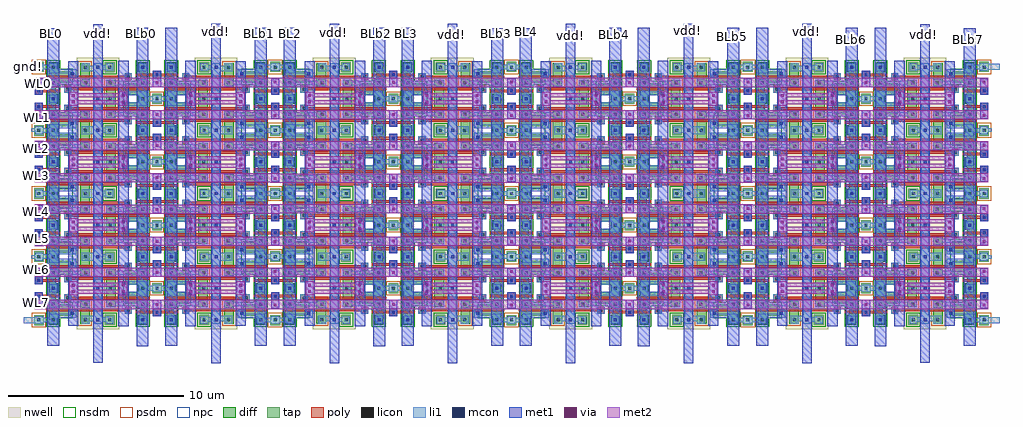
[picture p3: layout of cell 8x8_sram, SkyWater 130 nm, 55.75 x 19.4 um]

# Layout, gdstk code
from math import pi, radians
import gdstk
lib = gdstk.Library(unit=1e-6, precision=1e-09)
def R(c, l, rs):  # rectangles x0, y0, x1, y1
    for r in rs: c.add(gdstk.rectangle(r[:2], r[2:], *l))
nwell = (64, 20)
diff = (65, 20)
tap = (65, 44)
poly = (66, 20)
licon = (66, 44)
li1 = (67, 20)
mcon = (67, 44)
met1 = (68, 20)
via = (68, 44)
met2 = (69, 20)
nsdm = (93, 44)
psdm = (94, 20)
npc = (95, 20)

c_6tsram_base_final = lib.new_cell('6tsram_base_final')
R(c_6tsram_base_final, nwell, [(-0.65,-0.65,1.8,2.1)])
R(c_6tsram_base_final, diff, [(-2.25,-0.41,-1.7,0.1), (2.85,-0.4,3.4,0.15), (-0.45,-0.35,0.1,0.97), (-2.25,0.1,-0.99,0.75), (2.98,0.15,3.4,0.5), (2.85,0.5,3.4,0.8), (1.05,0.58,1.6,1.9), (-2.25,0.75,-1.7,1.05), (2.14,0.8,3.4,1.45), (-2.25,1.05,-1.83,1.4), (-2.25,1.4,-1.7,1.95), (2.85,1.45,3.4,1.95)])
R(c_6tsram_base_final, tap, [(-3.07,-0.43,-2.52,0.14), (0.97,-0.4,1.52,0.15), (3.67,1.4,4.22,1.96)])
R(c_6tsram_base_final, poly, [(3.72,0.09,4.17,0.25), (2.1,0.22,2.51,0.35), (2.72,0.25,4.17,0.4), (-2.38,0.35,2.51,0.5), (3.72,0.4,4.17,0.54), (2.1,0.5,2.51,0.63), (-1.36,0.92,-0.95,1.05), (-3.03,1,-2.58,1.15), (-1.36,1.05,3.53,1.2), (-3.03,1.15,-1.57,1.3), (-1.36,1.2,-0.95,1.33), (-3.03,1.3,-2.58,1.45)])
R(c_6tsram_base_final, licon, [(-2.89,-0.215,-2.72,-0.045), (-2.055,-0.215,-1.885,-0.045), (-0.225,-0.215,-0.055,-0.045), (1.175,-0.215,1.345,-0.045), (3.045,-0.215,3.215,-0.045), (3.86,0.23,4.03,0.4), (2.22,0.34,2.39,0.51), (-2.06,0.69,-1.89,0.86), (-0.21,0.69,-0.04,0.86), (1.19,0.69,1.36,0.86), (3.04,0.69,3.21,0.86), (-1.24,1.04,-1.07,1.21), (-2.89,1.14,-2.72,1.31), (-2.06,1.59,-1.89,1.76), (1.19,1.59,1.36,1.76), (3.04,1.59,3.21,1.76), (3.86,1.59,4.03,1.76)])
R(c_6tsram_base_final, li1, [(-2.2,-0.36,-1.75,-0.26), (-3.02,-0.35,-2.58,-0.26), (-0.35,-0.35,0.1,-0.2), (0.35,-0.35,0.8,-0.24), (2.9,-0.35,3.35,0.1), (1.05,-0.34,1.46,-0.24), (-3.02,-0.26,-1.75,-0.01), (0.35,-0.24,1.46,-0.2), (-0.35,-0.2,1.46,0.02), (-3.02,-0.01,-2.58,0.08), (-2.2,-0.01,-1.75,0), (-2.2,0,-0.67,0.21), (-0.35,0.02,0.8,0.1), (1.05,0.02,1.46,0.08), (3.72,0.09,4.17,0.54), (0.35,0.1,0.8,0.2), (0.35,0.2,0.79,1.35), (-1.12,0.21,-0.67,0.49), (2.1,0.22,2.51,0.66), (-2.2,0.55,-1.75,0.66), (-0.35,0.55,0.1,0.66), (2.9,0.55,3.35,0.66), (1.05,0.58,1.5,0.66), (-2.2,0.66,0.1,0.9), (1.05,0.66,3.35,0.9), (-2.2,0.9,-1.75,1), (-1.36,0.9,-0.95,1.33), (-0.35,0.9,0.1,0.97), (1.05,0.9,1.5,1), (2.9,0.9,3.35,1), (-3.03,1.01,-2.58,1.45), (1.8,1.26,3.35,1.48), (0.35,1.35,1.5,1.73), (-2.2,1.45,-1.75,1.9), (3.73,1.47,4.15,1.54), (1.8,1.48,2.3,1.71), (2.9,1.48,3.35,1.54), (2.9,1.54,4.15,1.82), (0.35,1.73,0.8,1.89), (1.05,1.73,1.5,1.9), (2.9,1.82,3.35,1.9), (3.73,1.82,4.15,1.88)])
R(c_6tsram_base_final, mcon, [(0.475,-0.215,0.645,-0.045), (-0.975,0.175,-0.805,0.345), (3.86,0.23,4.03,0.4), (-2.89,1.14,-2.72,1.31), (1.965,1.315,2.135,1.485), (0.48,1.59,0.65,1.76)])
R(c_6tsram_base_final, met1, [(0.3,-0.58,0.85,1.95), (1.74,-0.48,2.33,1.91), (-1.12,-0.46,-0.55,1.91), (3.71,0.08,4.17,1.01), (-3.03,0.53,-2.57,1), (-3.04,1,-2.57,1.01), (-3.04,1.01,-2.58,1.45)])
R(c_6tsram_base_final, via, [(1.945,1.415,2.095,1.565), (-0.915,1.425,-0.765,1.575)])
R(c_6tsram_base_final, met2, [(1.8,1.26,2.25,1.35), (-1.06,1.27,-0.6,1.35), (-1.06,1.35,2.25,1.58), (-1.06,1.58,-0.6,1.72), (1.8,1.58,2.25,1.71)])
R(c_6tsram_base_final, nsdm, [(-2.375,-0.535,-1.575,-0.025), (0.845,-0.525,1.645,0.275), (2.725,-0.525,3.525,0.675), (-2.375,-0.025,-0.865,0.875), (2.015,0.675,3.525,1.575), (-2.375,0.875,-1.575,2.075), (2.725,1.575,3.525,2.075)])
R(c_6tsram_base_final, psdm, [(-3.195,-0.555,-2.395,0.265), (-0.575,-0.475,0.225,1.095), (0.925,0.455,1.725,2.025), (3.545,1.275,4.345,2.085)])
R(c_6tsram_base_final, npc, [(3.76,0.13,4.13,0.5), (2.12,0.24,2.49,0.61), (-1.34,0.94,-0.97,1.31), (-2.99,1.04,-2.62,1.41)])
c_6tsram_base_final.add(gdstk.Label('gnd', (4.1,1.86), layer=67, texttype=5))
c_6tsram_base_final.add(gdstk.Label('Q', (-1.16,1.29), layer=67, texttype=5))
c_6tsram_base_final.add(gdstk.Label('Qb', (2.36,0.26), layer=67, texttype=5))
c_6tsram_base_final.add(gdstk.Label('WL', (3.97,0.79), layer=68, texttype=5))
c_6tsram_base_final.add(gdstk.Label('WL', (-2.84,0.76), layer=68, texttype=5))
c_6tsram_base_final.add(gdstk.Label('vcc', (0.57,1.25), layer=68, texttype=5))
c_6tsram_base_final.add(gdstk.Label('BLb', (3.16,0.06), layer=67, texttype=5))
c_6tsram_base_final.add(gdstk.Label('BL', (-1.89,1.49), layer=67, texttype=5))
c_6tsram_base_final.add(gdstk.Label('gnd', (-2.65,0.02), layer=67, texttype=5))

c_2x2_sram = lib.new_cell('2x2_sram')
R(c_2x2_sram, li1, [(6.07,0.39,6.33,0.65), (7.7,0.39,7.96,0.65), (0.97,2.2,1.22,2.45), (12.81,2.2,13.06,2.45), (6.07,4,6.33,4.26), (7.7,4,7.96,4.26), (-0.16,4.06,0.08,4.25)])
R(c_2x2_sram, mcon, [(6.115,0.435,6.285,0.605), (7.745,0.435,7.915,0.605), (1.01,2.24,1.18,2.41), (12.85,2.24,13.02,2.41), (6.115,4.045,6.285,4.215), (7.745,4.045,7.915,4.215)])
R(c_2x2_sram, met1, [(0.76,-0.05,1.42,4.95), (12.61,0,13.27,5), (7.5,0.1,8.16,5.1), (5.86,0.11,6.52,5.11), (0.13,1.24,0.4,1.51), (13.63,1.24,13.9,1.51), (6.88,1.29,7.15,1.56), (6.88,3.12,7.15,3.39), (0.13,3.14,0.4,3.41), (13.63,3.14,13.9,3.41), (3.37,4.58,3.92,4.84), (10.11,4.58,10.66,4.72)])
R(c_2x2_sram, via, [(0.19,1.3,0.34,1.45), (13.69,1.3,13.84,1.45), (6.94,1.35,7.09,1.5), (6.94,3.18,7.09,3.33), (0.19,3.2,0.34,3.35), (13.69,3.2,13.84,3.35)])
R(c_2x2_sram, met2, [(0.04,1.15,14.04,1.67), (0.04,2.99,14.04,3.51)])
R(c_2x2_sram, nsdm, [(5.085,2.225,5.795,2.425), (8.235,2.225,8.945,2.425)])
c_2x2_sram.add(gdstk.Reference(c_6tsram_base_final, (10.96,4), rotation=pi))
c_2x2_sram.add(gdstk.Reference(c_6tsram_base_final, (3.07,4), x_reflection=True))
c_2x2_sram.add(gdstk.Reference(c_6tsram_base_final, (3.07,0.65)))
c_2x2_sram.add(gdstk.Reference(c_6tsram_base_final, (10.96,0.65), rotation=pi, x_reflection=True))
c_2x2_sram.add(gdstk.Label('vdd!', (10.39,4.68), layer=68, texttype=5))
c_2x2_sram.add(gdstk.Label('BLb0', (6.03,4.69), layer=68, texttype=5))
c_2x2_sram.add(gdstk.Label('BL0', (0.99,4.68), layer=68, texttype=5))
c_2x2_sram.add(gdstk.Label('BLb1', (12.84,4.65), layer=68, texttype=5))
c_2x2_sram.add(gdstk.Label('BL1', (7.77,4.64), layer=68, texttype=5))
c_2x2_sram.add(gdstk.Label('WL0', (0.53,3.16), layer=69, texttype=5))
c_2x2_sram.add(gdstk.Label('WL1', (0.56,1.27), layer=69, texttype=5))
c_2x2_sram.add(gdstk.Label('gnd!', (-0.08,4.14), layer=67, texttype=5))
c_2x2_sram.add(gdstk.Label('vdd!', (3.54,4.67), layer=68, texttype=5))

c_4x4_sram = lib.new_cell('4x4_sram')
R(c_4x4_sram, li1, [(6.07,-3.22,6.33,-2.96), (7.7,-3.22,7.96,-2.96), (19.57,-3.22,19.83,-2.96), (21.2,-3.22,21.46,-2.96), (-0.61,3.99,0.08,4.31), (7.69,3.99,7.97,4.27), (6.07,4,6.33,4.26), (19.57,4,19.83,4.26), (21.2,4,21.46,4.26)])
R(c_4x4_sram, mcon, [(6.115,-3.175,6.285,-3.005), (7.745,-3.175,7.915,-3.005), (19.615,-3.175,19.785,-3.005), (21.245,-3.175,21.415,-3.005), (6.115,4.045,6.285,4.215), (7.745,4.045,7.915,4.215), (19.615,4.045,19.785,4.215), (21.245,4.045,21.415,4.215)])
R(c_4x4_sram, met1, [(0.75,-4.54,1.43,5.61), (26.1,-4.54,26.78,5.61), (7.49,-4.53,8.17,5.62), (12.61,-4.53,13.29,5.62), (14.25,-4.53,14.93,5.62), (21,-4.53,21.68,5.62), (5.85,-4.52,6.53,5.63), (19.36,-4.52,20.04,5.63), (27.13,-2.37,27.4,-2.1), (27.13,-0.47,27.4,-0.2), (0.13,1.24,0.4,1.51), (0.13,3.14,0.4,3.41), (27.13,3.14,27.4,3.41), (3.37,4.54,3.92,6.57), (10.11,4.58,10.66,6.61), (16.87,4.58,17.42,6.61), (23.61,4.58,24.16,6.61)])
R(c_4x4_sram, via, [(27.19,-2.31,27.34,-2.16), (27.19,-0.41,27.34,-0.26), (0.19,1.3,0.34,1.45), (0.19,3.2,0.34,3.35), (27.19,3.2,27.34,3.35)])
R(c_4x4_sram, met2, [(0.03,-2.45,27.55,-1.97), (0.03,-0.61,27.55,-0.13), (0.04,1.17,27.55,1.65), (0.03,3.01,27.55,3.49)])
R(c_4x4_sram, nsdm, [(1.495,0.415,2.205,0.625), (11.825,0.415,12.535,0.625), (14.995,0.415,15.705,0.625), (25.325,0.415,26.035,0.625)])
c_4x4_sram.add(gdstk.Reference(c_2x2_sram, (27.53,1.04), rotation=pi))
c_4x4_sram.add(gdstk.Reference(c_2x2_sram, (27.53,0), rotation=pi, x_reflection=True))
c_4x4_sram.add(gdstk.Reference(c_2x2_sram, (0,0)))
c_4x4_sram.add(gdstk.Reference(c_2x2_sram, (0,-3.61)))
c_4x4_sram.add(gdstk.Label('vdd!', (10.26,5.7), layer=68, texttype=5))
c_4x4_sram.add(gdstk.Label('vdd!', (17.1,5.6), layer=68, texttype=5))
c_4x4_sram.add(gdstk.Label('vdd!', (23.81,5.42), layer=68, texttype=5))
c_4x4_sram.add(gdstk.Label('BL0', (1.05,5.01), layer=68, texttype=5))
c_4x4_sram.add(gdstk.Label('BLb0', (6.14,5.02), layer=68, texttype=5))
c_4x4_sram.add(gdstk.Label('BL1', (7.72,5.01), layer=68, texttype=5))
c_4x4_sram.add(gdstk.Label('BLb1', (12.92,5.05), layer=68, texttype=5))
c_4x4_sram.add(gdstk.Label('BL2', (14.5,5.11), layer=68, texttype=5))
c_4x4_sram.add(gdstk.Label('BLb2', (19.67,4.93), layer=68, texttype=5))
c_4x4_sram.add(gdstk.Label('BL3', (21.25,4.92), layer=68, texttype=5))
c_4x4_sram.add(gdstk.Label('BLb3', (26.42,5), layer=68, texttype=5))
c_4x4_sram.add(gdstk.Label('WL0', (0.52,3.35), layer=69, texttype=5))
c_4x4_sram.add(gdstk.Label('WL1', (0.47,1.47), layer=69, texttype=5))
c_4x4_sram.add(gdstk.Label('WL2', (0.44,-0.43), layer=69, texttype=5))
c_4x4_sram.add(gdstk.Label('WL3', (0.44,-2.08), layer=69, texttype=5))
c_4x4_sram.add(gdstk.Label('gnd!', (-0.33,4.04), layer=67, texttype=5))
c_4x4_sram.add(gdstk.Label('vdd!', (3.58,5.6), layer=68, texttype=5))

c_8x8_sram = lib.new_cell('8x8_sram')
R(c_8x8_sram, li1, [(0.21,8.62,0.44,8.81)])
R(c_8x8_sram, met1, [(1.36,10.15,2.04,10.9), (26.71,10.15,27.39,10.9), (28.36,10.15,29.04,10.9), (53.71,10.15,54.39,10.9), (8.1,10.16,8.78,10.91), (13.22,10.16,13.9,10.91), (14.86,10.16,15.54,10.91), (21.61,10.16,22.29,10.91), (33.46,10.16,34.14,10.91), (40.21,10.16,40.89,10.91), (41.85,10.16,42.53,10.91), (46.97,10.16,47.65,10.91), (6.46,10.17,7.14,10.92), (19.97,10.17,20.65,10.92), (35.1,10.17,35.78,10.92), (48.61,10.17,49.29,10.92), (31.1,10.32,31.4,10.77), (24.33,10.33,24.63,10.72), (51.32,10.36,51.61,10.76), (4.1,10.47,4.35,10.76), (17.63,10.54,17.83,10.87), (44.62,10.58,44.89,10.92), (37.82,10.6,38.13,10.92), (10.89,10.61,11.08,10.82)])
R(c_8x8_sram, met2, [(0.64,-5.16,1.12,-4.65), (0.65,-3.3,1.13,-2.79), (0.64,-1.55,1.12,-1.04), (0.64,0.32,1.12,0.83), (0.65,2.08,1.13,2.59), (0.65,3.94,1.13,4.45), (0.65,5.68,1.13,6.19), (0.64,7.54,1.12,8.05)])
R(c_8x8_sram, nsdm, [(2.105,1.345,2.815,1.555), (12.435,1.345,13.145,1.555), (15.605,1.345,16.315,1.555), (25.935,1.345,26.645,1.555), (29.105,1.345,29.815,1.555), (39.435,1.345,40.145,1.555), (42.605,1.345,43.315,1.555), (52.935,1.345,53.645,1.555)])
c_8x8_sram.add(gdstk.Reference(c_4x4_sram, (55.14,-1.64), rotation=pi))
c_8x8_sram.add(gdstk.Reference(c_4x4_sram, (55.14,4.54), rotation=pi, x_reflection=True))
c_8x8_sram.add(gdstk.Reference(c_4x4_sram, (0.61,4.54)))
c_8x8_sram.add(gdstk.Reference(c_4x4_sram, (0.61,-1.64), x_reflection=True))
c_8x8_sram.add(gdstk.Label('WL0', (0.87,7.72), layer=69, texttype=5))
c_8x8_sram.add(gdstk.Label('WL1', (0.78,5.79), layer=69, texttype=5))
c_8x8_sram.add(gdstk.Label('WL2', (0.76,4.02), layer=69, texttype=5))
c_8x8_sram.add(gdstk.Label('WL3', (0.74,2.47), layer=69, texttype=5))
c_8x8_sram.add(gdstk.Label('WL4', (0.77,0.42), layer=69, texttype=5))
c_8x8_sram.add(gdstk.Label('WL5', (0.72,-1.14), layer=69, texttype=5))
c_8x8_sram.add(gdstk.Label('WL6', (0.74,-2.87), layer=69, texttype=5))
c_8x8_sram.add(gdstk.Label('WL7', (0.76,-4.78), layer=69, texttype=5))
c_8x8_sram.add(gdstk.Label('BL0', (1.61,10.59), layer=68, texttype=5))
c_8x8_sram.add(gdstk.Label('BLb0', (6.76,10.58), layer=68, texttype=5))
c_8x8_sram.add(gdstk.Label('BL1', (8.41,10.54), layer=68, texttype=5))
c_8x8_sram.add(gdstk.Label('BLb1', (13.48,10.61), layer=68, texttype=5))
c_8x8_sram.add(gdstk.Label('BL2', (15.24,10.59), layer=68, texttype=5))
c_8x8_sram.add(gdstk.Label('BLb2', (20.17,10.58), layer=68, texttype=5))
c_8x8_sram.add(gdstk.Label('BL3', (21.87,10.59), layer=68, texttype=5))
c_8x8_sram.add(gdstk.Label('BLb3', (27,10.59), layer=68, texttype=5))
c_8x8_sram.add(gdstk.Label('BL4', (28.72,10.69), layer=68, texttype=5))
c_8x8_sram.add(gdstk.Label('BLb4', (33.78,10.55), layer=68, texttype=5))
c_8x8_sram.add(gdstk.Label('BL5', (35.32,10.54), layer=68, texttype=5))
c_8x8_sram.add(gdstk.Label('BLb5', (40.52,10.41), layer=68, texttype=5))
c_8x8_sram.add(gdstk.Label('BL6', (42.05,10.36), layer=68, texttype=5))
c_8x8_sram.add(gdstk.Label('BLb6', (47.32,10.27), layer=68, texttype=5))
c_8x8_sram.add(gdstk.Label('BL7', (48.94,10.2), layer=68, texttype=5))
c_8x8_sram.add(gdstk.Label('BLb7', (54,10.25), layer=68, texttype=5))
c_8x8_sram.add(gdstk.Label('vdd!', (51.42,10.55), layer=68, texttype=5))
c_8x8_sram.add(gdstk.Label('vdd!', (44.75,10.73), layer=68, texttype=5))
c_8x8_sram.add(gdstk.Label('vdd!', (37.93,10.76), layer=68, texttype=5))
c_8x8_sram.add(gdstk.Label('vdd!', (31.24,10.5), layer=68, texttype=5))
c_8x8_sram.add(gdstk.Label('vdd!', (24.45,10.51), layer=68, texttype=5))
c_8x8_sram.add(gdstk.Label('vdd!', (17.72,10.65), layer=68, texttype=5))
c_8x8_sram.add(gdstk.Label('vdd!', (10.96,10.69), layer=68, texttype=5))
c_8x8_sram.add(gdstk.Label('vdd!', (4.2,10.6), layer=68, texttype=5))
c_8x8_sram.add(gdstk.Label('gnd!', (0.3,8.69), layer=67, texttype=5))

lib.write_gds('8x8_sram.gds')
